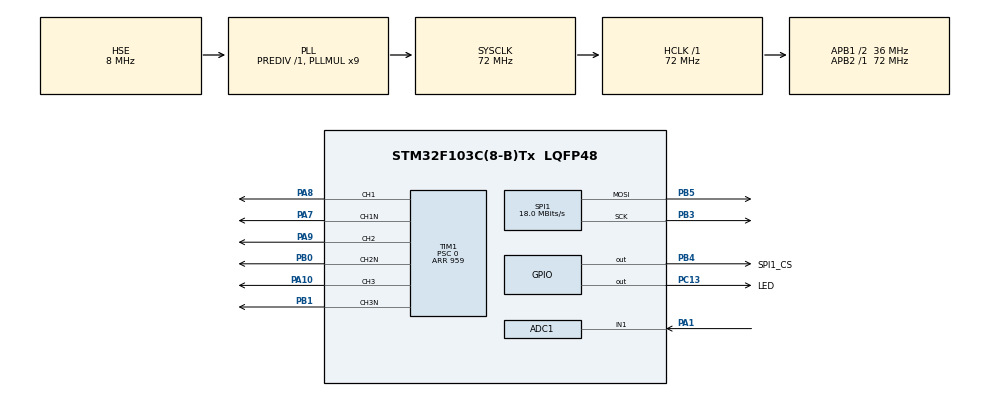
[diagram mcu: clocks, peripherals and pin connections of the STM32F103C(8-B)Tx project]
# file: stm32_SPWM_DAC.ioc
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ADC1.Channel-0\#ChannelRegularConversion=ADC_CHANNEL_1
ADC1.ExternalTrigConv=ADC_EXTERNALTRIGCONV_T3_TRGO
ADC1.NbrOfConversionFlag=1
ADC1.Rank-0\#ChannelRegularConversion=1
ADC1.SamplingTime-0\#ChannelRegularConversion=ADC_SAMPLETIME_1CYCLE_5
ADC1.master=1
Mcu.Family=STM32F1
Mcu.Name=STM32F103C(8-B)Tx
Mcu.Package=LQFP48
NVIC.ADC1_2_IRQn=true\:0\:0\:false\:false\:true\:true\:true\:true
NVIC.PriorityGroup=NVIC_PRIORITYGROUP_4
NVIC.TIM1_CC_IRQn=true\:0\:0\:false\:false\:true\:true\:true\:true
NVIC.TIM1_TRG_COM_IRQn=true\:0\:0\:false\:false\:true\:true\:true\:true
NVIC.TIM1_UP_IRQn=true\:0\:0\:false\:false\:true\:true\:true\:true
NVIC.TIM2_IRQn=true\:0\:0\:false\:false\:true\:true\:true\:true
NVIC.TIM3_IRQn=true\:0\:0\:false\:false\:true\:true\:true\:true
PA1.Signal=ADCx_IN1
PA10.Signal=S_TIM1_CH3
PA7.Mode=PWM Generation1 CH1 CH1N
PA7.Signal=TIM1_CH1N
PA8.Signal=S_TIM1_CH1
PA9.Signal=S_TIM1_CH2
PB0.Mode=PWM Generation2 CH2 CH2N
PB0.Signal=TIM1_CH2N
PB1.Mode=PWM Generation3 CH3 CH3N
PB1.Signal=TIM1_CH3N
PB3.Mode=TX_Only_Simplex_Unidirect_Master
PB3.Signal=SPI1_SCK
PB4.GPIO_Label=SPI1_CS
PB4.GPIO_Speed=GPIO_SPEED_FREQ_HIGH
PB4.Signal=GPIO_Output
PB5.Mode=TX_Only_Simplex_Unidirect_Master
PB5.Signal=SPI1_MOSI
PC13-TAMPER-RTC.GPIO_Label=LED
PC13-TAMPER-RTC.GPIO_Speed=GPIO_SPEED_FREQ_HIGH
PC13-TAMPER-RTC.Signal=GPIO_Output
PD0-OSC_IN.Mode=HSE-External-Oscillator
PD0-OSC_IN.Signal=RCC_OSC_IN
PD1-OSC_OUT.Mode=HSE-External-Oscillator
PD1-OSC_OUT.Signal=RCC_OSC_OUT
ProjectManager.HeapSize=0x200
ProjectManager.StackSize=0x400
ProjectManager.TargetToolchain=STM32CubeIDE
RCC.ADCPresc=RCC_ADCPCLK2_DIV6
RCC.AHBFreq_Value=72000000
RCC.APB1CLKDivider=RCC_HCLK_DIV2
RCC.APB1Freq_Value=36000000
RCC.APB1TimFreq_Value=72000000
RCC.APB2Freq_Value=72000000
RCC.APB2TimFreq_Value=72000000
RCC.HCLKFreq_Value=72000000
RCC.PLLMUL=RCC_PLL_MUL9
RCC.PLLSourceVirtual=RCC_PLLSOURCE_HSE
RCC.SYSCLKFreq_VALUE=72000000
RCC.SYSCLKSource=RCC_SYSCLKSOURCE_PLLCLK
RCC.USBFreq_Value=72000000
SH.ADCx_IN1.0=ADC1_IN1,IN1
SH.S_TIM1_CH1.0=TIM1_CH1,PWM Generation1 CH1 CH1N
SH.S_TIM1_CH2.0=TIM1_CH2,PWM Generation2 CH2 CH2N
SH.S_TIM1_CH3.0=TIM1_CH3,PWM Generation3 CH3 CH3N
SPI1.BaudRatePrescaler=SPI_BAUDRATEPRESCALER_4
SPI1.CalculateBaudRate=18.0 MBits/s
SPI1.DataSize=SPI_DATASIZE_8BIT
SPI1.Direction=SPI_DIRECTION_2LINES
SPI1.Mode=SPI_MODE_MASTER
SPI1.VirtualType=VM_MASTER
TIM1.Channel-PWM\ Generation1\ CH1\ CH1N=TIM_CHANNEL_1
TIM1.Channel-PWM\ Generation2\ CH2\ CH2N=TIM_CHANNEL_2
TIM1.Channel-PWM\ Generation3\ CH3\ CH3N=TIM_CHANNEL_3
TIM1.CounterMode=TIM_COUNTERMODE_CENTERALIGNED3
TIM1.DeadTime=172
TIM1.Period=959
TIM1.Prescaler=0
TIM1.TIM_MasterOutputTrigger=TIM_TRGO_ENABLE
TIM2.CounterMode=TIM_COUNTERMODE_CENTERALIGNED3
TIM2.Period=959
TIM2.Prescaler=0
TIM2.TIM_MasterOutputTrigger=TIM_TRGO_UPDATE
TIM3.CounterMode=TIM_COUNTERMODE_CENTERALIGNED3
TIM3.Period=3839
TIM3.Prescaler=1
TIM3.TIM_MasterOutputTrigger=TIM_TRGO_UPDATE
VP_TIM1_VS_ClockSourceINT.Mode=Internal
VP_TIM2_VS_ClockSourceINT.Mode=Internal
VP_TIM2_VS_ClockSourceITR.Mode=TriggerSource_ITR0
VP_TIM2_VS_ControllerModeTrigger.Mode=Trigger Mode
VP_TIM3_VS_ClockSourceINT.Mode=Internal
VP_TIM3_VS_ClockSourceITR.Mode=TriggerSource_ITR0
VP_TIM3_VS_ControllerModeTrigger.Mode=Trigger Mode
board=custom

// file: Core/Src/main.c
/* USER CODE BEGIN Header */
/**
  ******************************************************************************
  * @file           : main.c
  * @brief          : Main program body
  ******************************************************************************
  * @attention
  *
  * Copyright (c) 2024 STMicroelectronics.
  * All rights reserved.
  *
  * This software is licensed under terms that can be found in the LICENSE file
  * in the root directory of this software component.
  * If no LICENSE file comes with this software, it is provided AS-IS.
  *
  ******************************************************************************
  */
/* USER CODE END Header */
#include "main.h"

/* USER CODE BEGIN Includes */
#include "math.h"
/* USER CODE END Includes */

/* USER CODE BEGIN PD */
#define PI 3.14159265358979323846

// Switching Frequency
#define FSW 37500.00

// Maximum Values for ADC to Frequency Conversion
#define MAXFREQ 90.00
#define MAXADC 4096.00

// Values for Reference Sine Wave
#define FREQ0 5
#define N0 15000

// Relation between ADC values and Frequency (no es cierto, cambiar nombre)
#define ADCTOFREQ 2.00*MAXADC*FSW/MAXFREQ

// Values for Minimum Frequency (to avoid distortion)
#define FMIN 0.25
#define NMAX 300000
#define ADCMIN FMIN/MAXFREQ*MAXADC

/* USER CODE END PD */

ADC_HandleTypeDef hadc1;

SPI_HandleTypeDef hspi1;

TIM_HandleTypeDef htim1;
TIM_HandleTypeDef htim2;
TIM_HandleTypeDef htim3;

/* USER CODE BEGIN PV */
uint32_t adc_val = 0;
uint32_t adc_val_old = 0;

int16_t sinValues[3751]; // Size depends on frequency
//uint16_t sinValues[7501];

uint16_t i_aux = 0;
uint16_t i_aux3 = 0;
uint32_t counter = 0;
uint32_t counter0 = 0;

uint16_t offset = 0;

//uint16_t N0 = 3750; // Size depends on frequency
uint32_t N;
uint32_t N_old;

//uint16_t freq0 = 5;
double freq = 1; // Between 375 and 10 Hz
double freq_old = 1;

double m = 1.00;

const uint16_t phaseA = 0;
uint16_t phaseB;
uint16_t phaseC;
/* USER CODE END PV */

void SystemClock_Config(void);
static void MX_GPIO_Init(void);
static void MX_TIM1_Init(void);
static void MX_TIM2_Init(void);
static void MX_ADC1_Init(void);
static void MX_TIM3_Init(void);
static void MX_SPI1_Init(void);
/* USER CODE BEGIN PFP */
void sineValuesGeneration(void);
void initializeDAC(void);
void writeValueDAC(uint8_t address, uint16_t value);
/* USER CODE END PFP */

int main(void)
{

  /* MCU Configuration--------------------------------------------------------*/

  /* Reset of all peripherals, Initializes the Flash interface and the Systick. */
  HAL_Init();

  /* Configure the system clock */
  SystemClock_Config();

  /* Initialize all configured peripherals */
  MX_GPIO_Init();
  MX_TIM1_Init();
  MX_TIM2_Init();
  MX_ADC1_Init();
  MX_TIM3_Init();
  MX_SPI1_Init();
  /* USER CODE BEGIN 2 */

  // Calibrate ADC for better accuracy and start it w/ interrupt
  //if(HAL_ADCEx_Calibration_Start(&hadc1) != HAL_OK) Error_Handler();
  //if(HAL_ADC_Start_IT(&hadc1) != HAL_OK) Error_Handler();

  //Start PWM generation
  //if(HAL_TIM_Base_Start_IT(&htim3) != HAL_OK) Error_Handler();

  sineValuesGeneration();

  HAL_TIM_Base_Start_IT(&htim2);
  HAL_Delay(250);

  //HAL_SPI_Init(&hspi1);
  if (HAL_SPI_Init(&hspi1) != HAL_OK) {
	  // Initialization Error
	  Error_Handler();
  }
  //initializeDAC();

  // Ensure CS is initially high
  HAL_GPIO_WritePin(SPI1_CS_GPIO_Port, SPI1_CS_Pin, GPIO_PIN_SET);

  // Activate CS line
  HAL_GPIO_WritePin(SPI1_CS_GPIO_Port, SPI1_CS_Pin, GPIO_PIN_RESET);
  HAL_SPI_Transmit(&hspi1, (uint8_t[]){0b00001000}, 1, HAL_MAX_DELAY);
  HAL_Delay(1);
  HAL_SPI_Transmit(&hspi1, (uint8_t[]){0}, 1, HAL_MAX_DELAY);
  HAL_Delay(1);
  HAL_SPI_Transmit(&hspi1, (uint8_t[]){0}, 1, HAL_MAX_DELAY);
  HAL_Delay(1);
  HAL_SPI_Transmit(&hspi1, (uint8_t[]){0b00000001}, 1, HAL_MAX_DELAY);
  HAL_Delay(1);
  HAL_GPIO_WritePin(SPI1_CS_GPIO_Port, SPI1_CS_Pin, GPIO_PIN_SET);

  // Activate CS line
  HAL_GPIO_WritePin(SPI1_CS_GPIO_Port, SPI1_CS_Pin, GPIO_PIN_RESET);
  HAL_SPI_Transmit(&hspi1, (uint8_t[]){0b00000011}, 1, HAL_MAX_DELAY);
  HAL_Delay(1);
  HAL_SPI_Transmit(&hspi1, (uint8_t[]){0b11110000}, 1, HAL_MAX_DELAY);
  HAL_Delay(1);
  HAL_SPI_Transmit(&hspi1, (uint8_t[]){0}, 1, HAL_MAX_DELAY);
  HAL_Delay(1);
  HAL_SPI_Transmit(&hspi1, (uint8_t[]){0}, 1, HAL_MAX_DELAY);
  HAL_Delay(1);
  HAL_GPIO_WritePin(SPI1_CS_GPIO_Port, SPI1_CS_Pin, GPIO_PIN_SET);

  //HAL_TIM_Base_Start_IT(&htim3);
  //HAL_Delay(250);

  HAL_TIM_PWM_Start(&htim1, TIM_CHANNEL_1);
  HAL_TIMEx_PWMN_Start(&htim1, TIM_CHANNEL_1);

  HAL_TIM_PWM_Start(&htim1, TIM_CHANNEL_2);
  HAL_TIMEx_PWMN_Start(&htim1, TIM_CHANNEL_2);

  HAL_TIM_PWM_Start(&htim1, TIM_CHANNEL_3);
  HAL_TIMEx_PWMN_Start(&htim1, TIM_CHANNEL_3);
  /* USER CODE END 2 */

  /* Infinite loop */
  while (1)
  {

  }
}

void SystemClock_Config(void)
{
  RCC_OscInitTypeDef RCC_OscInitStruct = {0};
  RCC_ClkInitTypeDef RCC_ClkInitStruct = {0};
  RCC_PeriphCLKInitTypeDef PeriphClkInit = {0};

  /** Initializes the RCC Oscillators according to the specified parameters
  * in the RCC_OscInitTypeDef structure.
  */
  RCC_OscInitStruct.OscillatorType = RCC_OSCILLATORTYPE_HSE;
  RCC_OscInitStruct.HSEState = RCC_HSE_ON;
  RCC_OscInitStruct.HSEPredivValue = RCC_HSE_PREDIV_DIV1;
  RCC_OscInitStruct.HSIState = RCC_HSI_ON;
  RCC_OscInitStruct.PLL.PLLState = RCC_PLL_ON;
  RCC_OscInitStruct.PLL.PLLSource = RCC_PLLSOURCE_HSE;
  RCC_OscInitStruct.PLL.PLLMUL = RCC_PLL_MUL9;
  if (HAL_RCC_OscConfig(&RCC_OscInitStruct) != HAL_OK)
  {
    Error_Handler();
  }

  /** Initializes the CPU, AHB and APB buses clocks
  */
  RCC_ClkInitStruct.ClockType = RCC_CLOCKTYPE_HCLK|RCC_CLOCKTYPE_SYSCLK
                              |RCC_CLOCKTYPE_PCLK1|RCC_CLOCKTYPE_PCLK2;
  RCC_ClkInitStruct.SYSCLKSource = RCC_SYSCLKSOURCE_PLLCLK;
  RCC_ClkInitStruct.AHBCLKDivider = RCC_SYSCLK_DIV1;
  RCC_ClkInitStruct.APB1CLKDivider = RCC_HCLK_DIV2;
  RCC_ClkInitStruct.APB2CLKDivider = RCC_HCLK_DIV1;

  if (HAL_RCC_ClockConfig(&RCC_ClkInitStruct, FLASH_LATENCY_2) != HAL_OK)
  {
    Error_Handler();
  }
  PeriphClkInit.PeriphClockSelection = RCC_PERIPHCLK_ADC;
  PeriphClkInit.AdcClockSelection = RCC_ADCPCLK2_DIV6;
  if (HAL_RCCEx_PeriphCLKConfig(&PeriphClkInit) != HAL_OK)
  {
    Error_Handler();
  }
}

static void MX_ADC1_Init(void)
{

  ADC_ChannelConfTypeDef sConfig = {0};

  /** Common config
  */
  hadc1.Instance = ADC1;
  hadc1.Init.ScanConvMode = ADC_SCAN_DISABLE;
  hadc1.Init.ContinuousConvMode = DISABLE;
  hadc1.Init.DiscontinuousConvMode = DISABLE;
  hadc1.Init.ExternalTrigConv = ADC_EXTERNALTRIGCONV_T3_TRGO;
  hadc1.Init.DataAlign = ADC_DATAALIGN_RIGHT;
  hadc1.Init.NbrOfConversion = 1;
  if (HAL_ADC_Init(&hadc1) != HAL_OK)
  {
    Error_Handler();
  }

  /** Configure Regular Channel
  */
  sConfig.Channel = ADC_CHANNEL_1;
  sConfig.Rank = ADC_REGULAR_RANK_1;
  sConfig.SamplingTime = ADC_SAMPLETIME_1CYCLE_5;
  if (HAL_ADC_ConfigChannel(&hadc1, &sConfig) != HAL_OK)
  {
    Error_Handler();
  }

}

static void MX_SPI1_Init(void)
{

  /* SPI1 parameter configuration*/
  hspi1.Instance = SPI1;
  hspi1.Init.Mode = SPI_MODE_MASTER;
  hspi1.Init.Direction = SPI_DIRECTION_2LINES;
  hspi1.Init.DataSize = SPI_DATASIZE_8BIT;
  hspi1.Init.CLKPolarity = SPI_POLARITY_LOW;
  hspi1.Init.CLKPhase = SPI_PHASE_1EDGE;
  hspi1.Init.NSS = SPI_NSS_SOFT;
  hspi1.Init.BaudRatePrescaler = SPI_BAUDRATEPRESCALER_4;
  hspi1.Init.FirstBit = SPI_FIRSTBIT_MSB;
  hspi1.Init.TIMode = SPI_TIMODE_DISABLE;
  hspi1.Init.CRCCalculation = SPI_CRCCALCULATION_DISABLE;
  hspi1.Init.CRCPolynomial = 10;
  if (HAL_SPI_Init(&hspi1) != HAL_OK)
  {
    Error_Handler();
  }

}

static void MX_TIM1_Init(void)
{

  TIM_ClockConfigTypeDef sClockSourceConfig = {0};
  TIM_MasterConfigTypeDef sMasterConfig = {0};
  TIM_OC_InitTypeDef sConfigOC = {0};
  TIM_BreakDeadTimeConfigTypeDef sBreakDeadTimeConfig = {0};

  htim1.Instance = TIM1;
  htim1.Init.Prescaler = 0;
  htim1.Init.CounterMode = TIM_COUNTERMODE_CENTERALIGNED3;
  htim1.Init.Period = 959;
  htim1.Init.ClockDivision = TIM_CLOCKDIVISION_DIV1;
  htim1.Init.RepetitionCounter = 0;
  htim1.Init.AutoReloadPreload = TIM_AUTORELOAD_PRELOAD_DISABLE;
  if (HAL_TIM_Base_Init(&htim1) != HAL_OK)
  {
    Error_Handler();
  }
  sClockSourceConfig.ClockSource = TIM_CLOCKSOURCE_INTERNAL;
  if (HAL_TIM_ConfigClockSource(&htim1, &sClockSourceConfig) != HAL_OK)
  {
    Error_Handler();
  }
  if (HAL_TIM_PWM_Init(&htim1) != HAL_OK)
  {
    Error_Handler();
  }
  sMasterConfig.MasterOutputTrigger = TIM_TRGO_ENABLE;
  sMasterConfig.MasterSlaveMode = TIM_MASTERSLAVEMODE_DISABLE;
  if (HAL_TIMEx_MasterConfigSynchronization(&htim1, &sMasterConfig) != HAL_OK)
  {
    Error_Handler();
  }
  sConfigOC.OCMode = TIM_OCMODE_PWM1;
  sConfigOC.Pulse = 0;
  sConfigOC.OCPolarity = TIM_OCPOLARITY_HIGH;
  sConfigOC.OCNPolarity = TIM_OCNPOLARITY_HIGH;
  sConfigOC.OCFastMode = TIM_OCFAST_DISABLE;
  sConfigOC.OCIdleState = TIM_OCIDLESTATE_RESET;
  sConfigOC.OCNIdleState = TIM_OCNIDLESTATE_RESET;
  if (HAL_TIM_PWM_ConfigChannel(&htim1, &sConfigOC, TIM_CHANNEL_1) != HAL_OK)
  {
    Error_Handler();
  }
  if (HAL_TIM_PWM_ConfigChannel(&htim1, &sConfigOC, TIM_CHANNEL_2) != HAL_OK)
  {
    Error_Handler();
  }
  if (HAL_TIM_PWM_ConfigChannel(&htim1, &sConfigOC, TIM_CHANNEL_3) != HAL_OK)
  {
    Error_Handler();
  }
  sBreakDeadTimeConfig.OffStateRunMode = TIM_OSSR_DISABLE;
  sBreakDeadTimeConfig.OffStateIDLEMode = TIM_OSSI_DISABLE;
  sBreakDeadTimeConfig.LockLevel = TIM_LOCKLEVEL_OFF;
  sBreakDeadTimeConfig.DeadTime = 172;
  sBreakDeadTimeConfig.BreakState = TIM_BREAK_DISABLE;
  sBreakDeadTimeConfig.BreakPolarity = TIM_BREAKPOLARITY_HIGH;
  sBreakDeadTimeConfig.AutomaticOutput = TIM_AUTOMATICOUTPUT_DISABLE;
  if (HAL_TIMEx_ConfigBreakDeadTime(&htim1, &sBreakDeadTimeConfig) != HAL_OK)
  {
    Error_Handler();
  }
  HAL_TIM_MspPostInit(&htim1);

}

static void MX_TIM2_Init(void)
{

  TIM_ClockConfigTypeDef sClockSourceConfig = {0};
  TIM_SlaveConfigTypeDef sSlaveConfig = {0};
  TIM_MasterConfigTypeDef sMasterConfig = {0};

  htim2.Instance = TIM2;
  htim2.Init.Prescaler = 0;
  htim2.Init.CounterMode = TIM_COUNTERMODE_CENTERALIGNED3;
  htim2.Init.Period = 959;
  htim2.Init.ClockDivision = TIM_CLOCKDIVISION_DIV1;
  htim2.Init.AutoReloadPreload = TIM_AUTORELOAD_PRELOAD_DISABLE;
  if (HAL_TIM_Base_Init(&htim2) != HAL_OK)
  {
    Error_Handler();
  }
  sClockSourceConfig.ClockSource = TIM_CLOCKSOURCE_INTERNAL;
  if (HAL_TIM_ConfigClockSource(&htim2, &sClockSourceConfig) != HAL_OK)
  {
    Error_Handler();
  }
  sSlaveConfig.SlaveMode = TIM_SLAVEMODE_TRIGGER;
  sSlaveConfig.InputTrigger = TIM_TS_ITR0;
  if (HAL_TIM_SlaveConfigSynchro(&htim2, &sSlaveConfig) != HAL_OK)
  {
    Error_Handler();
  }
  sMasterConfig.MasterOutputTrigger = TIM_TRGO_UPDATE;
  sMasterConfig.MasterSlaveMode = TIM_MASTERSLAVEMODE_DISABLE;
  if (HAL_TIMEx_MasterConfigSynchronization(&htim2, &sMasterConfig) != HAL_OK)
  {
    Error_Handler();
  }

}

static void MX_TIM3_Init(void)
{

  TIM_ClockConfigTypeDef sClockSourceConfig = {0};
  TIM_SlaveConfigTypeDef sSlaveConfig = {0};
  TIM_MasterConfigTypeDef sMasterConfig = {0};

  htim3.Instance = TIM3;
  htim3.Init.Prescaler = 1;
  htim3.Init.CounterMode = TIM_COUNTERMODE_CENTERALIGNED3;
  htim3.Init.Period = 3839;
  htim3.Init.ClockDivision = TIM_CLOCKDIVISION_DIV1;
  htim3.Init.AutoReloadPreload = TIM_AUTORELOAD_PRELOAD_DISABLE;
  if (HAL_TIM_Base_Init(&htim3) != HAL_OK)
  {
    Error_Handler();
  }
  sClockSourceConfig.ClockSource = TIM_CLOCKSOURCE_INTERNAL;
  if (HAL_TIM_ConfigClockSource(&htim3, &sClockSourceConfig) != HAL_OK)
  {
    Error_Handler();
  }
  sSlaveConfig.SlaveMode = TIM_SLAVEMODE_TRIGGER;
  sSlaveConfig.InputTrigger = TIM_TS_ITR0;
  if (HAL_TIM_SlaveConfigSynchro(&htim3, &sSlaveConfig) != HAL_OK)
  {
    Error_Handler();
  }
  sMasterConfig.MasterOutputTrigger = TIM_TRGO_UPDATE;
  sMasterConfig.MasterSlaveMode = TIM_MASTERSLAVEMODE_DISABLE;
  if (HAL_TIMEx_MasterConfigSynchronization(&htim3, &sMasterConfig) != HAL_OK)
  {
    Error_Handler();
  }

}

static void MX_GPIO_Init(void)
{
  GPIO_InitTypeDef GPIO_InitStruct = {0};

  /* GPIO Ports Clock Enable */
  __HAL_RCC_GPIOC_CLK_ENABLE();
  __HAL_RCC_GPIOD_CLK_ENABLE();
  __HAL_RCC_GPIOA_CLK_ENABLE();
  __HAL_RCC_GPIOB_CLK_ENABLE();

  /*Configure GPIO pin Output Level */
  HAL_GPIO_WritePin(LED_GPIO_Port, LED_Pin, GPIO_PIN_RESET);

  /*Configure GPIO pin Output Level */
  HAL_GPIO_WritePin(SPI1_CS_GPIO_Port, SPI1_CS_Pin, GPIO_PIN_RESET);

  /*Configure GPIO pin : LED_Pin */
  GPIO_InitStruct.Pin = LED_Pin;
  GPIO_InitStruct.Mode = GPIO_MODE_OUTPUT_PP;
  GPIO_InitStruct.Pull = GPIO_NOPULL;
  GPIO_InitStruct.Speed = GPIO_SPEED_FREQ_HIGH;
  HAL_GPIO_Init(LED_GPIO_Port, &GPIO_InitStruct);

  /*Configure GPIO pin : SPI1_CS_Pin */
  GPIO_InitStruct.Pin = SPI1_CS_Pin;
  GPIO_InitStruct.Mode = GPIO_MODE_OUTPUT_PP;
  GPIO_InitStruct.Pull = GPIO_NOPULL;
  GPIO_InitStruct.Speed = GPIO_SPEED_FREQ_HIGH;
  HAL_GPIO_Init(SPI1_CS_GPIO_Port, &GPIO_InitStruct);

}

/* USER CODE BEGIN 4 */

//void HAL_ADC_ConvCpltCallback(ADC_HandleTypeDef *hadc) {
//	// IMPORTANT: Check time between executions
//
//	adc_val = HAL_ADC_GetValue(&hadc1); // Read ADC value
//
//	// Check if ADC reading changed
//	if(adc_val_old != adc_val) {
//		m = (float)adc_val/MAXADC;           // Modulation index (0 to 1)
//		if(m < 0.15) m = 0.15;               // Limit minimum MI to 15%
//
//		if((float)adc_val < ADCMIN){ // To limit distortion and avoid N being too big
//			N  = NMAX;
//		}
//		else{
//			N = floor(ADCTOFREQ/(float)adc_val);
//		}
//
//		counter = round((double)N*(double)counter/(double)N_old);
//		N_old = N;
//
//		adc_val_old = adc_val; //freq = adc_val/MAXADC*MAXFREQ
//	}
//}

/**
  * @brief  This function pre-generates the sine values for modulator signal.
  * @retval None
  */
void sineValuesGeneration(void){
	// Executed only one time at the start of the program

	// Number of samples for one period
	N  = floor(2*FSW/freq);  // For generated frequency (f).
	N_old = N;

	// Number of samples for phase shifts (with reference to f0)
	phaseB = 1*N0/3 + phaseA;
	phaseC = 2*N0/3 + phaseA;

	// Generation of sinusoidal reference wave
	for(uint16_t i = 0; i <= N0/4; i++){
		//sinValues[i] = round(959.00*(0.5*m*sin(i*(double)2*PI/(double)N0)+0.5));
		sinValues[i] = round(959.00*(0.5*sin(i*2.0*PI/N0)+0.5));
	}
}

void HAL_TIM_PeriodElapsedCallback(TIM_HandleTypeDef *htim){

	if (htim->Instance == htim2.Instance) {
		HAL_GPIO_TogglePin(LED_GPIO_Port, LED_Pin);
		//Time between executions: 1/(2*FSW) = 13 us

		// Conditioning of counter
		counter0 = round((double)N0*(double)counter/(double)N);

		//m*(sin()-959/2)
		//m*sin() + (959/2)*(1 - m)

		//offset = round((479.5)*(1.0 - m));

		// Phase detection (A)
		i_aux = (counter0 + phaseA) % N0;
		if (i_aux <= N0/4){
			//TIM1->CCR1 = sinValues[i_aux];
			writeValueDAC(0b0000, sinValues[i_aux]);
		}
		else if((i_aux > N0/4)&&(i_aux < N0/2)){
			//TIM1->CCR1 = sinValues[(N0/2 - i_aux)];
			writeValueDAC(0b0000, sinValues[(N0/2 - i_aux)]);
		}
		else if ((i_aux >= N0/2)&&(i_aux <= 3*N0/4)){
			//TIM1->CCR1 = (959-sinValues[(i_aux - N0/2)]);
			writeValueDAC(0b0000, (959-sinValues[(i_aux - N0/2)]));
		}
		else{
			//TIM1->CCR1 = (959-sinValues[(N0 - i_aux)]);
			writeValueDAC(0b0000, (959-sinValues[(N0 - i_aux)]));
		}

//		// Phase detection (B)
//		i_aux = (counter0 + phaseB) % N0;
//		if (i_aux <= N0/4){
//			TIM1->CCR2 = sinValues[i_aux];
//		}
//		else if((i_aux > N0/4)&&(i_aux < N0/2)){
//			TIM1->CCR2 = sinValues[(N0/2 - i_aux)];
//		}
//		else if ((i_aux >= N0/2)&&(i_aux <= 3*N0/4)){
//			TIM1->CCR2 = (959-sinValues[(i_aux - N0/2)]);
//		}
//		//else if (i_aux > 3*N0/4){
//		else{
//			TIM1->CCR2 = (959-sinValues[(N0 - i_aux)]);
//		}
//
//		// Phase detection (C)
//		i_aux3 = (counter0 + phaseC) % N0;
//		if (i_aux3 <= N0/4){
//			TIM1->CCR3 = sinValues[i_aux3];
//		}
//		else if((i_aux3 > N0/4)&&(i_aux3 < N0/2)){
//			TIM1->CCR3 = sinValues[(2*N0/4 - i_aux3)];
//		}
//		else if ((i_aux3 >= N0/2)&&(i_aux3 <= 3*N0/4)){
//			TIM1->CCR3 = (959-sinValues[(i_aux3 - N0/2)]);
//		}
//		//else if (i_aux > 3*N0/4){
//		else{
//			TIM1->CCR3 = (959-sinValues[(N0 - i_aux3)]);
//		}

		counter++;
		if(counter >= N) counter = 0;
	}
}

void initializeDAC(void){
	uint8_t data[4];

	data[0] = 0b00001000;
	data[1] = 0b00000000;
	data[2] = 0b00000000;
	data[3] = 0b00000001;
	HAL_GPIO_WritePin(SPI1_CS_GPIO_Port, SPI1_CS_Pin, GPIO_PIN_RESET);
	HAL_SPI_Transmit(&hspi1, data, 4, 100);
	HAL_GPIO_WritePin(SPI1_CS_GPIO_Port, SPI1_CS_Pin, GPIO_PIN_SET);

	data[0] = 0b00000011;
	data[1] = 0b11110000;
	data[2] = 0b00000000;
	data[3] = 0b00000000;
	HAL_GPIO_WritePin(SPI1_CS_GPIO_Port, SPI1_CS_Pin, GPIO_PIN_RESET);
	HAL_SPI_Transmit(&hspi1, data, 4, 100);
	HAL_GPIO_WritePin(SPI1_CS_GPIO_Port, SPI1_CS_Pin, GPIO_PIN_SET);
}

//void writeValueDAC(uint8_t address, uint16_t value){
//	uint8_t data[4];
//	data[0] = 0b00000000 | 0b0011;
//	data[1] = (address << 4) | ((0xF00 & value) >> 8);
//	data[2] = 0x0FF & value;
//	data[3] = 0b00000000;
//	HAL_GPIO_WritePin(SPI1_CS_GPIO_Port, SPI1_CS_Pin, GPIO_PIN_RESET);
//	HAL_SPI_Transmit(&hspi1, data, 4, 100);
//	HAL_GPIO_WritePin(SPI1_CS_GPIO_Port, SPI1_CS_Pin, GPIO_PIN_SET);
//}

void writeValueDAC(uint8_t address, uint16_t value) {
    uint8_t data[4];

    // Primero 4 bits vacíos y comando de escritura
    data[0] = 0b00000000 | 0b0011;
    // Dirección y primeros 4 bits de datos
    data[1] = (address << 4) | ((0xF00 & value) >> 8);
    // Últimos 8 bits de datos
    data[2] = 0x0FF & value;
    // Últimos 8 bits vacíos
    data[3] = 0b00000000;

    // Activar línea CS
    HAL_GPIO_WritePin(SPI1_CS_GPIO_Port, SPI1_CS_Pin, GPIO_PIN_RESET);
    HAL_Delay(1);

    // Transmitir datos por SPI
    HAL_SPI_Transmit(&hspi1, data, 4, HAL_MAX_DELAY);
    HAL_Delay(1);

    // Desactivar línea CS
    HAL_GPIO_WritePin(SPI1_CS_GPIO_Port, SPI1_CS_Pin, GPIO_PIN_SET);
    HAL_Delay(1);
}

/* USER CODE END 4 */

void Error_Handler(void)
{
  __disable_irq();
  while (1)
  {
  }
}
